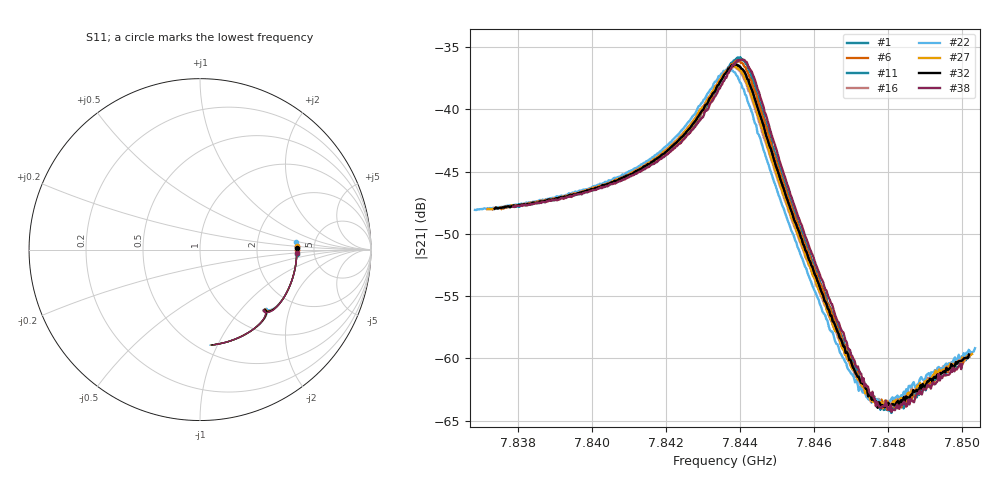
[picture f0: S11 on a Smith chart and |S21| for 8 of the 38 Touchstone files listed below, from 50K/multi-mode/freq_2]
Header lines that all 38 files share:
#  HZ  S  RI  R  50.00
! Rohde & Schwarz Vector Network Analyzer
! Rohde-Schwarz,ZNB20-2Port,1311601062101988,3.16
! freq[Hz]  re:S11  im:S11  re:S21  im:S21  re:S12  im:S12  re:S22  im:S22
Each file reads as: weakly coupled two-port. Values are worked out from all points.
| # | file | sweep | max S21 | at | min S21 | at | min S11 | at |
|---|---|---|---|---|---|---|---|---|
| 1 | 1_2_48.1037_50.1338768_0.06_.s2p | 7.83793 GHz to 7.84985 GHz | -35.81 dB | 7.84395 GHz | -64.4 dB | 7.84809 GHz | -5.8 dB | 7.84407 GHz |
| 2 | 6_2_48.1019_50.1342545_2345.936_.s2p | 7.8379 GHz to 7.84987 GHz | -35.81 dB | 7.84397 GHz | -64.4 dB | 7.84807 GHz | -5.8 dB | 7.84412 GHz |
| 3 | 7_2_48.1004_50.1342545_2914.163_.s2p | 7.83793 GHz to 7.84984 GHz | -35.84 dB | 7.844 GHz | -64.4 dB | 7.84791 GHz | -5.8 dB | 7.84412 GHz |
| 4 | 13_2_48.102_50.1326447_6341.079_.s2p | 7.83794 GHz to 7.84982 GHz | -35.92 dB | 7.844 GHz | -64.3 dB | 7.84792 GHz | -5.8 dB | 7.84409 GHz |
| 5 | 21_2_48.1046_50.1319466_11236.475_.s2p | 7.83782 GHz to 7.84992 GHz | -35.95 dB | 7.84393 GHz | -64.3 dB | 7.84804 GHz | -5.8 dB | 7.84408 GHz |
| 6 | 33_2_48.0995_50.1248589_18422.791_.s2p | 7.83756 GHz to 7.85011 GHz | -36.08 dB | 7.8439 GHz | -64.1 dB | 7.84798 GHz | -5.8 dB | 7.84405 GHz |
| 7 | 37_2_48.0973_50.1219711_21296.076_.s2p | 7.83763 GHz to 7.85002 GHz | -36.11 dB | 7.84395 GHz | -64.1 dB | 7.84816 GHz | -5.8 dB | 7.84407 GHz |
| 8 | 44_2_48.0984_50.1170387_25780.307_.s2p | 7.83748 GHz to 7.85013 GHz | -36.20 dB | 7.84387 GHz | -64.2 dB | 7.84795 GHz | -5.8 dB | 7.84403 GHz |
| 9 | 49_2_48.1015_50.111454_28633.166_.s2p | 7.83749 GHz to 7.85012 GHz | -36.21 dB | 7.84393 GHz | -64.0 dB | 7.8481 GHz | -5.8 dB | 7.84406 GHz |
| 10 | 60_2_48.0996_50.1002312_35236.43_.s2p | 7.83739 GHz to 7.85019 GHz | -36.34 dB | 7.84389 GHz | -64.0 dB | 7.84814 GHz | -5.8 dB | 7.84401 GHz |
| 11 | 67_2_48.0996_50.0929413_39510.094_.s2p | 7.83733 GHz to 7.85019 GHz | -36.41 dB | 7.84382 GHz | -63.9 dB | 7.84784 GHz | -5.8 dB | 7.84402 GHz |
| 12 | 80_2_48.0988_50.0810966_47315.949_.s2p | 7.83731 GHz to 7.85017 GHz | -36.46 dB | 7.84381 GHz | -64.0 dB | 7.84783 GHz | -5.8 dB | 7.844 GHz |
| 13 | 83_2_48.1001_50.0785942_49272.363_.s2p | 7.83714 GHz to 7.85033 GHz | -36.49 dB | 7.8438 GHz | -63.9 dB | 7.84799 GHz | -5.8 dB | 7.84396 GHz |
| 14 | 84_2_48.0982_50.0778351_49813.484_.s2p | 7.83739 GHz to 7.8501 GHz | -36.42 dB | 7.84384 GHz | -63.9 dB | 7.84797 GHz | -5.8 dB | 7.844 GHz |
| 15 | 92_2_48.1007_50.0712738_54418.477_.s2p | 7.83721 GHz to 7.85025 GHz | -36.58 dB | 7.84376 GHz | -63.8 dB | 7.84783 GHz | -5.8 dB | 7.84399 GHz |
| 16 | 99_2_48.099_50.065239_58752.199_.s2p | 7.83719 GHz to 7.85023 GHz | -36.56 dB | 7.84387 GHz | -63.9 dB | 7.84805 GHz | -5.7 dB | 7.84397 GHz |
| 17 | 107_2_48.0946_50.0581932_63578.398_.s2p | 7.83687 GHz to 7.8505 GHz | -36.62 dB | 7.84389 GHz | -63.8 dB | 7.84784 GHz | -5.7 dB | 7.84395 GHz |
| 18 | 125_2_48.0996_50.0416374_74570.883_.s2p | 7.83705 GHz to 7.85027 GHz | -36.67 dB | 7.84382 GHz | -63.8 dB | 7.84789 GHz | -5.7 dB | 7.84392 GHz |
| 19 | 136_2_48.1022_50.031765_81172.211_.s2p | 7.83693 GHz to 7.85033 GHz | -36.76 dB | 7.8437 GHz | -63.8 dB | 7.84775 GHz | -5.7 dB | 7.8439 GHz |
| 20 | 154_2_48.0973_50.0199165_88714.539_.s2p | 7.83671 GHz to 7.85044 GHz | -36.79 dB | 7.84375 GHz | -63.8 dB | 7.84776 GHz | -5.7 dB | 7.84385 GHz |
| 21 | 156_2_48.101_50.0202179_87556.555_.s2p | 7.83672 GHz to 7.85041 GHz | -36.74 dB | 7.84374 GHz | -63.6 dB | 7.84788 GHz | -5.7 dB | 7.84384 GHz |
| 22 | 159_2_48.0999_50.0227928_85848.625_.s2p | 7.83684 GHz to 7.85035 GHz | -36.76 dB | 7.84366 GHz | -63.8 dB | 7.84785 GHz | -5.7 dB | 7.84386 GHz |
| 23 | 169_2_48.0987_50.0329132_79847.102_.s2p | 7.83698 GHz to 7.85023 GHz | -36.74 dB | 7.8437 GHz | -63.9 dB | 7.84778 GHz | -5.7 dB | 7.84387 GHz |
| 24 | 174_2_48.1011_50.0400734_76680.789_.s2p | 7.83682 GHz to 7.85039 GHz | -36.72 dB | 7.84374 GHz | -63.8 dB | 7.84784 GHz | -5.7 dB | 7.84388 GHz |
| 25 | 177_2_48.104_50.0440903_74973.422_.s2p | 7.83684 GHz to 7.85038 GHz | -36.70 dB | 7.84378 GHz | -63.9 dB | 7.84768 GHz | -5.7 dB | 7.84388 GHz |
| 26 | 206_2_48.1053_50.0781021_57606.352_.s2p | 7.83716 GHz to 7.85021 GHz | -36.59 dB | 7.84382 GHz | -64.1 dB | 7.84816 GHz | -5.7 dB | 7.84395 GHz |
| 27 | 219_2_48.0986_50.0942268_49886.598_.s2p | 7.83718 GHz to 7.85027 GHz | -36.48 dB | 7.84382 GHz | -63.9 dB | 7.84788 GHz | -5.8 dB | 7.84399 GHz |
| 28 | 220_2_48.1007_50.0947113_49306.945_.s2p | 7.83718 GHz to 7.85026 GHz | -36.53 dB | 7.84385 GHz | -64.3 dB | 7.84807 GHz | -5.8 dB | 7.84398 GHz |
| 29 | 225_2_48.0986_50.1012421_46130.855_.s2p | 7.83714 GHz to 7.85033 GHz | -36.46 dB | 7.8438 GHz | -64.0 dB | 7.84815 GHz | -5.8 dB | 7.844 GHz |
| 30 | 234_2_48.099_50.1133881_40718.297_.s2p | 7.83734 GHz to 7.85019 GHz | -36.41 dB | 7.84386 GHz | -64.0 dB | 7.84801 GHz | -5.8 dB | 7.84402 GHz |
| 31 | 237_2_48.0994_50.1155891_39040.68_.s2p | 7.83721 GHz to 7.85031 GHz | -36.39 dB | 7.84386 GHz | -64.0 dB | 7.84801 GHz | -5.8 dB | 7.84402 GHz |
| 32 | 242_2_48.0986_50.1222496_36183.852_.s2p | 7.83738 GHz to 7.85018 GHz | -36.38 dB | 7.84388 GHz | -64.0 dB | 7.84772 GHz | -5.8 dB | 7.844 GHz |
| 33 | 243_2_48.1011_50.1242256_35315.191_.s2p | 7.83731 GHz to 7.85026 GHz | -36.36 dB | 7.84388 GHz | -64.2 dB | 7.84796 GHz | -5.8 dB | 7.84404 GHz |
| 34 | 263_2_48.0995_50.1483536_23321.15_.s2p | 7.83756 GHz to 7.85013 GHz | -36.25 dB | 7.84388 GHz | -64.1 dB | 7.84793 GHz | -5.8 dB | 7.84406 GHz |
| 35 | 264_2_48.0976_50.1462288_22741.711_.s2p | 7.83757 GHz to 7.85013 GHz | -36.24 dB | 7.84394 GHz | -64.2 dB | 7.84806 GHz | -5.8 dB | 7.84407 GHz |
| 36 | 268_2_48.0985_50.1516266_20454.986_.s2p | 7.83775 GHz to 7.84997 GHz | -36.19 dB | 7.84392 GHz | -64.0 dB | 7.8482 GHz | -5.8 dB | 7.84407 GHz |
| 37 | 292_2_48.1021_50.168972_6191.702_.s2p | 7.83775 GHz to 7.85009 GHz | -35.98 dB | 7.84401 GHz | -64.3 dB | 7.84805 GHz | -5.8 dB | 7.84414 GHz |
| 38 | 302_2_48.1014_50.1700668_200.206_.s2p | 7.83788 GHz to 7.85 GHz | -35.99 dB | 7.84406 GHz | -64.3 dB | 7.84809 GHz | -5.8 dB | 7.84415 GHz |
